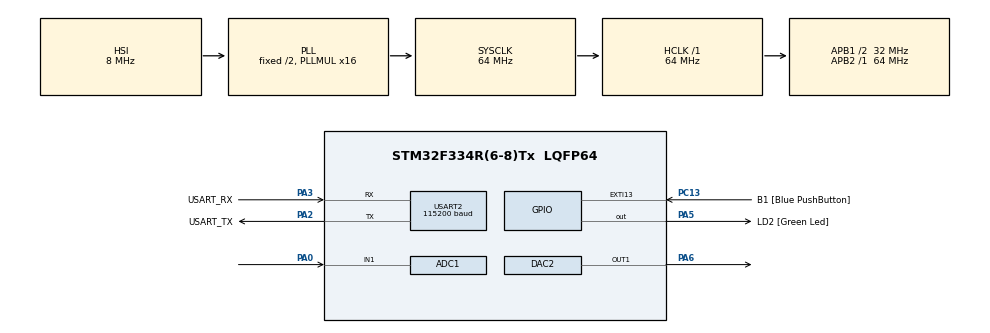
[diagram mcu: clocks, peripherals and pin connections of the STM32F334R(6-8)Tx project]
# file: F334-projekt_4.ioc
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ADC1.Channel-0\#ChannelRegularConversion=ADC_CHANNEL_1
ADC1.NbrOfConversionFlag=1
ADC1.Offset-0\#ChannelRegularConversion=0
ADC1.OffsetNumber-0\#ChannelRegularConversion=ADC_OFFSET_NONE
ADC1.Rank-0\#ChannelRegularConversion=1
ADC1.SamplingTime-0\#ChannelRegularConversion=ADC_SAMPLETIME_1CYCLE_5
ADC1.SubFamily=STM32F334x8
ADC1.master=1
Dma.Request0=USART2_TX
Dma.USART2_TX.0.Direction=DMA_MEMORY_TO_PERIPH
Dma.USART2_TX.0.Instance=DMA1_Channel7
Dma.USART2_TX.0.MemDataAlignment=DMA_MDATAALIGN_BYTE
Dma.USART2_TX.0.MemInc=DMA_MINC_ENABLE
Dma.USART2_TX.0.Mode=DMA_NORMAL
Dma.USART2_TX.0.PeriphDataAlignment=DMA_PDATAALIGN_BYTE
Dma.USART2_TX.0.PeriphInc=DMA_PINC_DISABLE
Dma.USART2_TX.0.Priority=DMA_PRIORITY_LOW
Mcu.Family=STM32F3
Mcu.Name=STM32F334R(6-8)Tx
Mcu.Package=LQFP64
NVIC.ADC1_2_IRQn=true\:3\:0\:true\:false\:true\:true\:true
NVIC.DMA1_Channel7_IRQn=true\:0\:0\:false\:false\:true\:false\:true
NVIC.EXTI15_10_IRQn=true\:2\:0\:true\:false\:true\:true\:true
NVIC.PriorityGroup=NVIC_PRIORITYGROUP_2
NVIC.TIM1_TRG_COM_TIM17_IRQn=true\:3\:0\:true\:false\:true\:true\:true
NVIC.TIM1_UP_TIM16_IRQn=true\:3\:0\:true\:false\:true\:true\:true
NVIC.USART2_IRQn=true\:1\:0\:true\:false\:true\:true\:true
PA0.Mode=IN1-Single-Ended
PA0.Signal=ADC1_IN1
PA13.GPIO_Label=TMS
PA13.Mode=Serial_Wire
PA13.Signal=SYS_JTMS-SWDIO
PA14.GPIO_Label=TCK
PA14.Mode=Serial_Wire
PA14.Signal=SYS_JTCK-SWCLK
PA2.GPIO_Label=USART_TX
PA2.Mode=Asynchronous
PA2.Signal=USART2_TX
PA3.GPIO_Label=USART_RX
PA3.Mode=Asynchronous
PA3.Signal=USART2_RX
PA5.GPIO_Label=LD2 [Green Led]
PA5.Signal=GPIO_Output
PA6.Signal=COMP_DAC21_group
PB3.GPIO_Label=SWO
PB3.Signal=SYS_JTDO-TRACESWO
PC13.GPIO_Label=B1 [Blue PushButton]
PC13.GPIO_ModeDefaultEXTI=GPIO_MODE_IT_RISING_FALLING
PC13.Signal=GPXTI13
PC14\ /\ OSC32_IN.Mode=LSE-External-Oscillator
PC14\ /\ OSC32_IN.Signal=RCC_OSC32_IN
PC15\ /\ OSC32_OUT.GPIO_Label=RCC_OSC32_OUT
PC15\ /\ OSC32_OUT.Mode=LSE-External-Oscillator
PC15\ /\ OSC32_OUT.Signal=RCC_OSC32_OUT
PF0\ /\ OSC_IN.Mode=HSE-External-Clock-Source
PF0\ /\ OSC_IN.Signal=RCC_OSC_IN
PF1\ /\ OSC_OUT.Signal=RCC_OSC_OUT
ProjectManager.HeapSize=0x200
ProjectManager.StackSize=0x400
ProjectManager.TargetToolchain=SW4STM32
RCC.AHBFreq_Value=64000000
RCC.APB1CLKDivider=RCC_HCLK_DIV2
RCC.APB1Freq_Value=32000000
RCC.APB1TimFreq_Value=64000000
RCC.APB2Freq_Value=64000000
RCC.APB2TimFreq_Value=64000000
RCC.CortexFreq_Value=64000000
RCC.FLatency-AdvancedSettings=FLASH_LATENCY_2
RCC.HCLKFreq_Value=64000000
RCC.HSE_VALUE=8000000
RCC.HSI_VALUE=8000000
RCC.PLLMUL=RCC_PLL_MUL16
RCC.SYSCLKFreq_VALUE=64000000
RCC.SYSCLKSourceVirtual=RCC_SYSCLKSOURCE_PLLCLK
SH.COMP_DAC21_group.0=DAC2_OUT1,Switch_Enable_OUT1
TIM16.Period=400 - 1
TIM16.Prescaler=6400 - 1
TIM17.Period=700 - 1
TIM17.Prescaler=6400 - 1
USART2.BaudRate=115200
USART2.VirtualMode-Asynchronous=VM_ASYNC
VP_TIM16_VS_ClockSourceINT.Mode=Enable_Timer
VP_TIM17_VS_ClockSourceINT.Mode=Enable_Timer
board=NUCLEO-F334R8

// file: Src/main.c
/* USER CODE BEGIN Header */
/**
 ******************************************************************************
 * @file           : main.c
 * @brief          : Main program body
 ******************************************************************************
 * @attention
 *
 * <h2><center>&copy; Copyright (c) 2019 STMicroelectronics.
 * All rights reserved.</center></h2>
 *
 * This software component is licensed by ST under BSD 3-Clause license,
 * the "License"; You may not use this file except in compliance with the
 * License. You may obtain a copy of the License at:
 *                        opensource.org/licenses/BSD-3-Clause
 *
 ******************************************************************************
 */
/* USER CODE END Header */

#include "main.h"

/* USER CODE BEGIN Includes */
#include "stdio.h"
#include "string.h"
/* USER CODE END Includes */

ADC_HandleTypeDef hadc1;

DAC_HandleTypeDef hdac2;

TIM_HandleTypeDef htim16;
TIM_HandleTypeDef htim17;

UART_HandleTypeDef huart2;
DMA_HandleTypeDef hdma_usart2_tx;

/* USER CODE BEGIN PV */
static volatile uint8_t uart_cmpl = 0;
static volatile uint8_t uart_cmpl2 = 0;
/* USER CODE END PV */

void SystemClock_Config(void);
static void MX_GPIO_Init(void);
static void MX_USART2_UART_Init(void);
static void MX_TIM17_Init(void);
static void MX_ADC1_Init(void);
static void MX_DMA_Init(void);
static void MX_DAC2_Init(void);
static void MX_TIM16_Init(void);

/* USER CODE BEGIN 0 */

uint16_t keyCurrent = 0;
const uint16_t keyMax = 128;

const uint16_t sinusArgs[128] = {2048, 2145, 2242, 2339, 2435, 2530, 2624, 2717, 2808, 2897,  2984, 3069, 3151, 3230, 3307, 3381, 3451, 3518, 3581, 3640,  3696, 3748, 3795, 3838, 3877, 3911, 3941, 3966, 3986, 4002,  4013, 4019, 4020, 4016, 4008, 3995, 3977, 3954, 3926, 3894,  3858, 3817, 3772, 3722, 3669, 3611, 3550, 3485, 3416, 3344,  3269, 3191, 3110, 3027, 2941, 2853, 2763, 2671, 2578, 2483,  2387, 2291, 2194, 2096, 1999, 1901, 1804, 1708, 1612, 1517,  1424, 1332, 1242, 1154, 1068, 985, 904, 826, 751, 679,  610, 545, 484, 426, 373, 323, 278, 237, 201, 169,  141, 118, 100, 87, 79, 75, 76, 82, 93, 109,  129, 154, 184, 218, 257, 300, 347, 399, 455, 514,  577, 644, 714, 788, 865, 944, 1026, 1111, 1198, 1287,  1378, 1471, 1565, 1660, 1756, 1853, 1950, 2047};
const uint16_t triangleArgs[128] = {0, 64, 128, 192, 256, 320, 384, 448, 512, 576, 640, 704, 768, 832, 896, 960, 1024, 1088, 1152, 1216, 1280, 1344, 1408, 1472, 1536, 1600, 1664, 1728, 1792, 1856, 1920, 1984, 2048, 2112, 2176, 2240, 2304, 2368, 2432, 2496, 2560, 2624, 2688, 2752, 2816, 2880, 2944, 3008, 3072, 3136, 3200, 3264, 3328, 3392, 3456, 3520, 3584, 3648, 3712, 3776, 3840, 3904, 3968, 4032, 4095, 4032, 3968, 3904, 3840, 3776, 3712, 3648, 3584, 3520, 3456, 3392, 3328, 3264, 3200, 3136, 3072, 3008, 2944, 2880, 2816, 2752, 2688, 2624, 2560, 2496, 2432, 2368, 2304, 2240, 2176, 2112, 2048, 1984, 1920, 1856, 1792, 1728, 1664, 1600, 1536, 1472, 1408, 1344, 1280, 1216, 1152, 1088, 1024, 960, 896, 832, 768, 704, 640, 576, 512, 448, 384, 320, 256, 192, 128, 64};
const uint16_t squareArgs[128] = {0, 0, 0, 0, 0, 0, 0, 0, 0, 0, 0, 0, 0, 0, 0, 0, 0, 0, 0, 0, 0, 0, 0, 0, 0, 0, 0, 0, 0, 0, 0, 0, 2048, 2048, 2048, 2048, 2048, 2048, 2048, 2048, 2048, 2048, 2048, 2048, 2048, 2048, 2048, 2048, 2048, 2048, 2048, 2048, 2048, 2048, 2048, 2048, 2048, 2048, 2048, 2048, 2048, 2048, 2048, 2048, 4095, 4095, 4095, 4095, 4095, 4095, 4095, 4095, 4095, 4095, 4095, 4095, 4095, 4095, 4095, 4095, 4095, 4095, 4095, 4095, 4095, 4095, 4095, 4095, 4095, 4095, 4095, 4095, 4095, 4095, 4095, 4095, 2048, 2048, 2048, 2048, 2048, 2048, 2048, 2048, 2048, 2048, 2048, 2048, 2048, 2048, 2048, 2048, 2048, 2048, 2048, 2048, 2048, 2048, 2048, 2048, 2048, 2048, 2048, 2048, 2048, 2048, 2048, 2048};

uint16_t currentArgsId = 0;

const uint16_t lineCharsLenght = 156;

uint16_t * currentArgs;

void drawLine(uint16_t value, uint16_t maxValue) {

	uint16_t pointPosition = (uint16_t) ( (float) value * (float) lineCharsLenght / (float) maxValue );

	if(pointPosition >= lineCharsLenght) {
		pointPosition = lineCharsLenght - 1;
	}

	char buff[lineCharsLenght + 30];

	sprintf(buff, "");

	for (int i = 0; i < lineCharsLenght; i++) {
		if (i == pointPosition) {
			sprintf(buff + strlen(buff), "#");
		} else {
			sprintf(buff + strlen(buff), "-");
		}
	}

	sprintf(buff + strlen(buff), " %0.3f[V]\r\n", ((value * 3.3)/maxValue));

	uart_cmpl = 0;
	HAL_UART_Transmit_IT(&huart2, (uint8_t*)buff, strlen(buff));
	while (uart_cmpl == 0);
}

/* USER CODE END 0 */

int main(void)
{

  /* MCU Configuration--------------------------------------------------------*/

  /* Reset of all peripherals, Initializes the Flash interface and the Systick. */
  HAL_Init();

  /* Configure the system clock */
  SystemClock_Config();

  /* USER CODE BEGIN SysInit */
  currentArgs = sinusArgs;
  /* USER CODE END SysInit */

  /* Initialize all configured peripherals */
  MX_GPIO_Init();
  MX_USART2_UART_Init();
  MX_TIM17_Init();
  MX_ADC1_Init();
  MX_DMA_Init();
  MX_DAC2_Init();
  MX_TIM16_Init();
  /* USER CODE BEGIN 2 */
  HAL_TIM_Base_Start_IT(&htim16);
  HAL_TIM_Base_Start_IT(&htim17);

//  HAL_DAC_SetValue(&hdac2,DAC_CHANNEL_1,DAC_ALIGN_12B_R,3326); // 2.67
//  HAL_DAC_SetValue(&hdac2,DAC_CHANNEL_1,DAC_ALIGN_12B_R,1663); // 1.33

  HAL_DAC_Start(&hdac2,DAC_CHANNEL_1);

  /* USER CODE END 2 */

  /* Infinite loop */
	while (1)
	{

	}
}

void SystemClock_Config(void)
{
  RCC_OscInitTypeDef RCC_OscInitStruct = {0};
  RCC_ClkInitTypeDef RCC_ClkInitStruct = {0};
  RCC_PeriphCLKInitTypeDef PeriphClkInit = {0};

  /** Initializes the CPU, AHB and APB busses clocks
  */
  RCC_OscInitStruct.OscillatorType = RCC_OSCILLATORTYPE_HSI;
  RCC_OscInitStruct.HSIState = RCC_HSI_ON;
  RCC_OscInitStruct.HSICalibrationValue = RCC_HSICALIBRATION_DEFAULT;
  RCC_OscInitStruct.PLL.PLLState = RCC_PLL_ON;
  RCC_OscInitStruct.PLL.PLLSource = RCC_PLLSOURCE_HSI;
  RCC_OscInitStruct.PLL.PLLMUL = RCC_PLL_MUL16;
  if (HAL_RCC_OscConfig(&RCC_OscInitStruct) != HAL_OK)
  {
    Error_Handler();
  }
  /** Initializes the CPU, AHB and APB busses clocks
  */
  RCC_ClkInitStruct.ClockType = RCC_CLOCKTYPE_HCLK|RCC_CLOCKTYPE_SYSCLK
                              |RCC_CLOCKTYPE_PCLK1|RCC_CLOCKTYPE_PCLK2;
  RCC_ClkInitStruct.SYSCLKSource = RCC_SYSCLKSOURCE_PLLCLK;
  RCC_ClkInitStruct.AHBCLKDivider = RCC_SYSCLK_DIV1;
  RCC_ClkInitStruct.APB1CLKDivider = RCC_HCLK_DIV2;
  RCC_ClkInitStruct.APB2CLKDivider = RCC_HCLK_DIV1;

  if (HAL_RCC_ClockConfig(&RCC_ClkInitStruct, FLASH_LATENCY_2) != HAL_OK)
  {
    Error_Handler();
  }
  PeriphClkInit.PeriphClockSelection = RCC_PERIPHCLK_ADC12;
  PeriphClkInit.Adc12ClockSelection = RCC_ADC12PLLCLK_DIV1;
  if (HAL_RCCEx_PeriphCLKConfig(&PeriphClkInit) != HAL_OK)
  {
    Error_Handler();
  }
}

static void MX_ADC1_Init(void)
{

  ADC_MultiModeTypeDef multimode = {0};
  ADC_ChannelConfTypeDef sConfig = {0};

  /** Common config
  */
  hadc1.Instance = ADC1;
  hadc1.Init.ClockPrescaler = ADC_CLOCK_ASYNC_DIV1;
  hadc1.Init.Resolution = ADC_RESOLUTION_12B;
  hadc1.Init.ScanConvMode = ADC_SCAN_DISABLE;
  hadc1.Init.ContinuousConvMode = DISABLE;
  hadc1.Init.DiscontinuousConvMode = DISABLE;
  hadc1.Init.ExternalTrigConvEdge = ADC_EXTERNALTRIGCONVEDGE_NONE;
  hadc1.Init.ExternalTrigConv = ADC_SOFTWARE_START;
  hadc1.Init.DataAlign = ADC_DATAALIGN_RIGHT;
  hadc1.Init.NbrOfConversion = 1;
  hadc1.Init.DMAContinuousRequests = DISABLE;
  hadc1.Init.EOCSelection = ADC_EOC_SINGLE_CONV;
  hadc1.Init.LowPowerAutoWait = DISABLE;
  hadc1.Init.Overrun = ADC_OVR_DATA_OVERWRITTEN;
  if (HAL_ADC_Init(&hadc1) != HAL_OK)
  {
    Error_Handler();
  }
  /** Configure the ADC multi-mode
  */
  multimode.Mode = ADC_MODE_INDEPENDENT;
  if (HAL_ADCEx_MultiModeConfigChannel(&hadc1, &multimode) != HAL_OK)
  {
    Error_Handler();
  }
  /** Configure Regular Channel
  */
  sConfig.Channel = ADC_CHANNEL_1;
  sConfig.Rank = ADC_REGULAR_RANK_1;
  sConfig.SingleDiff = ADC_SINGLE_ENDED;
  sConfig.SamplingTime = ADC_SAMPLETIME_1CYCLE_5;
  sConfig.OffsetNumber = ADC_OFFSET_NONE;
  sConfig.Offset = 0;
  if (HAL_ADC_ConfigChannel(&hadc1, &sConfig) != HAL_OK)
  {
    Error_Handler();
  }

}

static void MX_DAC2_Init(void)
{

  DAC_ChannelConfTypeDef sConfig = {0};

  /** DAC Initialization
  */
  hdac2.Instance = DAC2;
  if (HAL_DAC_Init(&hdac2) != HAL_OK)
  {
    Error_Handler();
  }
  /** DAC channel OUT1 config
  */
  sConfig.DAC_Trigger = DAC_TRIGGER_NONE;
  sConfig.DAC_OutputSwitch = DAC_OUTPUTSWITCH_ENABLE;
  if (HAL_DAC_ConfigChannel(&hdac2, &sConfig, DAC_CHANNEL_1) != HAL_OK)
  {
    Error_Handler();
  }

}

static void MX_TIM16_Init(void)
{

  htim16.Instance = TIM16;
  htim16.Init.Prescaler = 6400 - 1;
  htim16.Init.CounterMode = TIM_COUNTERMODE_UP;
  htim16.Init.Period = 400 - 1;
  htim16.Init.ClockDivision = TIM_CLOCKDIVISION_DIV1;
  htim16.Init.RepetitionCounter = 0;
  htim16.Init.AutoReloadPreload = TIM_AUTORELOAD_PRELOAD_DISABLE;
  if (HAL_TIM_Base_Init(&htim16) != HAL_OK)
  {
    Error_Handler();
  }

}

static void MX_TIM17_Init(void)
{

  htim17.Instance = TIM17;
  htim17.Init.Prescaler = 6400 - 1;
  htim17.Init.CounterMode = TIM_COUNTERMODE_UP;
  htim17.Init.Period = 700 - 1;
  htim17.Init.ClockDivision = TIM_CLOCKDIVISION_DIV1;
  htim17.Init.RepetitionCounter = 0;
  htim17.Init.AutoReloadPreload = TIM_AUTORELOAD_PRELOAD_DISABLE;
  if (HAL_TIM_Base_Init(&htim17) != HAL_OK)
  {
    Error_Handler();
  }

}

static void MX_USART2_UART_Init(void)
{

  huart2.Instance = USART2;
  huart2.Init.BaudRate = 115200;
  huart2.Init.WordLength = UART_WORDLENGTH_8B;
  huart2.Init.StopBits = UART_STOPBITS_1;
  huart2.Init.Parity = UART_PARITY_NONE;
  huart2.Init.Mode = UART_MODE_TX_RX;
  huart2.Init.HwFlowCtl = UART_HWCONTROL_NONE;
  huart2.Init.OverSampling = UART_OVERSAMPLING_16;
  huart2.Init.OneBitSampling = UART_ONE_BIT_SAMPLE_DISABLE;
  huart2.AdvancedInit.AdvFeatureInit = UART_ADVFEATURE_NO_INIT;
  if (HAL_UART_Init(&huart2) != HAL_OK)
  {
    Error_Handler();
  }

}

static void MX_DMA_Init(void)
{

  /* DMA controller clock enable */
  __HAL_RCC_DMA1_CLK_ENABLE();

  /* DMA interrupt init */
  /* DMA1_Channel7_IRQn interrupt configuration */
  HAL_NVIC_SetPriority(DMA1_Channel7_IRQn, 0, 0);
  HAL_NVIC_EnableIRQ(DMA1_Channel7_IRQn);

}

static void MX_GPIO_Init(void)
{
  GPIO_InitTypeDef GPIO_InitStruct = {0};

  /* GPIO Ports Clock Enable */
  __HAL_RCC_GPIOC_CLK_ENABLE();
  __HAL_RCC_GPIOF_CLK_ENABLE();
  __HAL_RCC_GPIOA_CLK_ENABLE();
  __HAL_RCC_GPIOB_CLK_ENABLE();

  /*Configure GPIO pin Output Level */
  HAL_GPIO_WritePin(LD2_GPIO_Port, LD2_Pin, GPIO_PIN_RESET);

  /*Configure GPIO pin : B1_Pin */
  GPIO_InitStruct.Pin = B1_Pin;
  GPIO_InitStruct.Mode = GPIO_MODE_IT_RISING_FALLING;
  GPIO_InitStruct.Pull = GPIO_NOPULL;
  HAL_GPIO_Init(B1_GPIO_Port, &GPIO_InitStruct);

  /*Configure GPIO pin : LD2_Pin */
  GPIO_InitStruct.Pin = LD2_Pin;
  GPIO_InitStruct.Mode = GPIO_MODE_OUTPUT_PP;
  GPIO_InitStruct.Pull = GPIO_NOPULL;
  GPIO_InitStruct.Speed = GPIO_SPEED_FREQ_LOW;
  HAL_GPIO_Init(LD2_GPIO_Port, &GPIO_InitStruct);

  /* EXTI interrupt init*/
  HAL_NVIC_SetPriority(EXTI15_10_IRQn, 2, 0);
  HAL_NVIC_EnableIRQ(EXTI15_10_IRQn);

}

/* USER CODE BEGIN 4 */
void HAL_GPIO_EXTI_Callback(uint16_t GPIO_Pin)
{
	if (GPIO_Pin == GPIO_PIN_13)
	{
		if (HAL_GPIO_ReadPin(B1_GPIO_Port, B1_Pin) == GPIO_PIN_SET)
		{

			char buff[30];

			currentArgsId++;

			if (currentArgsId > 2) {
				currentArgsId = 0;
			}

			switch(currentArgsId) {
			case 0:
				sprintf(buff, "\r\nSINUS FUNCTION: \r\n\r\n");
				currentArgs = sinusArgs;
				break;
			case 1:
				sprintf(buff, "\r\nTRIANGLE FUNCTION: \r\n\r\n");
				currentArgs = triangleArgs;
				break;
			case 2:
				sprintf(buff, "\r\nSQUARE FUNCTION: \r\n\r\n");
				currentArgs = squareArgs;
				break;
			}

			uart_cmpl2 = 0;
			HAL_UART_Transmit_IT(&huart2, (uint8_t*)buff, strlen(buff));
			while (uart_cmpl2 == 0);

		}

	}
}

void HAL_TIM_PeriodElapsedCallback(TIM_HandleTypeDef *htim)
{
	if (htim == &htim16)
	{

		HAL_DAC_SetValue(&hdac2, DAC_CHANNEL_1, DAC_ALIGN_12B_R, currentArgs[keyCurrent]);
		keyCurrent++;
		if (keyCurrent >= keyMax) {
			keyCurrent = 0;
		}

		HAL_GPIO_TogglePin(LD2_GPIO_Port, LD2_Pin);
	}

	if (htim == &htim17)
	{
		HAL_ADC_Start_IT(&hadc1);
	}

}

void HAL_UART_TxCpltCallback(UART_HandleTypeDef *huart)
{
	uart_cmpl = 1;
	uart_cmpl2 = 1;
}

void HAL_ADC_ConvCpltCallback(ADC_HandleTypeDef* hadc)
{
	drawLine(HAL_ADC_GetValue(hadc), 0xFFF);
}

/* USER CODE END 4 */

void Error_Handler(void)
{
}

/************************ (C) COPYRIGHT STMicroelectronics *****END OF FILE****/
